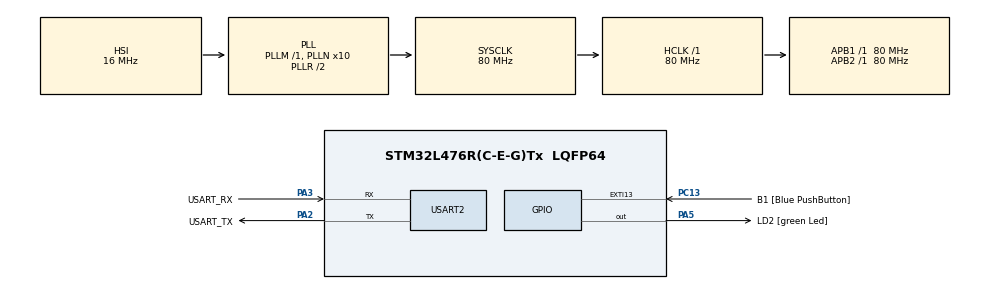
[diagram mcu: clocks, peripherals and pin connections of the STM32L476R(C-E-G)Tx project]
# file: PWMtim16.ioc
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Mcu.Family=STM32L4
Mcu.Name=STM32L476R(C-E-G)Tx
Mcu.Package=LQFP64
NVIC.PriorityGroup=NVIC_PRIORITYGROUP_4
PA13\ (JTMS-SWDIO).GPIO_Label=TMS
PA13\ (JTMS-SWDIO).Mode=Serial_Wire
PA13\ (JTMS-SWDIO).Signal=SYS_JTMS-SWDIO
PA14\ (JTCK-SWCLK).GPIO_Label=TCK
PA14\ (JTCK-SWCLK).Mode=Serial_Wire
PA14\ (JTCK-SWCLK).Signal=SYS_JTCK-SWCLK
PA2.GPIO_Label=USART_TX
PA2.GPIO_Mode=GPIO_MODE_AF_PP
PA2.GPIO_PuPd=GPIO_NOPULL
PA2.GPIO_Speed=GPIO_SPEED_FREQ_VERY_HIGH
PA2.Mode=Asynchronous
PA2.Signal=USART2_TX
PA3.GPIO_Label=USART_RX
PA3.GPIO_Mode=GPIO_MODE_AF_PP
PA3.GPIO_PuPd=GPIO_NOPULL
PA3.GPIO_Speed=GPIO_SPEED_FREQ_VERY_HIGH
PA3.Mode=Asynchronous
PA3.Signal=USART2_RX
PA5.GPIO_Label=LD2 [green Led]
PA5.GPIO_ModeDefaultOutputPP=GPIO_MODE_OUTPUT_PP
PA5.GPIO_PuPd=GPIO_NOPULL
PA5.GPIO_Speed=GPIO_SPEED_FREQ_LOW
PA5.Signal=GPIO_Output
PB3\ (JTDO-TRACESWO).GPIO_Label=SWO
PB3\ (JTDO-TRACESWO).Signal=SYS_JTDO-SWO
PC13.GPIO_Label=B1 [Blue PushButton]
PC13.GPIO_ModeDefaultEXTI=GPIO_MODE_IT_FALLING
PC13.GPIO_PuPd=GPIO_NOPULL
PC13.Signal=GPXTI13
PC14-OSC32_IN\ (PC14).Mode=LSE-External-Oscillator
PC14-OSC32_IN\ (PC14).Signal=RCC_OSC32_IN
PC15-OSC32_OUT\ (PC15).Mode=LSE-External-Oscillator
PC15-OSC32_OUT\ (PC15).Signal=RCC_OSC32_OUT
PH0-OSC_IN\ (PH0).Signal=RCC_OSC_IN
PH1-OSC_OUT\ (PH1).Signal=RCC_OSC_OUT
ProjectManager.HeapSize=0x200
ProjectManager.StackSize=0x400
ProjectManager.TargetToolchain=STM32CubeIDE
RCC.ADCFreq_Value=64000000
RCC.AHBFreq_Value=80000000
RCC.APB1Freq_Value=80000000
RCC.APB1TimFreq_Value=80000000
RCC.APB2Freq_Value=80000000
RCC.APB2TimFreq_Value=80000000
RCC.CortexFreq_Value=80000000
RCC.HCLKFreq_Value=80000000
RCC.HSE_VALUE=8000000
RCC.HSI_VALUE=16000000
RCC.MSI_VALUE=4000000
RCC.PLLN=10
RCC.PLLSourceVirtual=RCC_PLLSOURCE_HSI
RCC.PREFETCH_ENABLE=1
RCC.SYSCLKFreq_VALUE=80000000
RCC.SYSCLKSource=RCC_SYSCLKSOURCE_PLLCLK
RCC.USBFreq_Value=64000000
RCC.VCOOutputFreq_Value=160000000
TIM16.Prescaler=80 - 1
USART2.VirtualMode-Asynchronous=VM_ASYNC
VP_TIM16_VS_ClockSourceINT.Mode=Enable_Timer
board=NUCLEO-L476RG

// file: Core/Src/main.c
/* USER CODE BEGIN Header */
/**
  ******************************************************************************
  * @file           : main.c
  * @brief          : Main program body
  ******************************************************************************
  * @attention
  *
  * <h2><center>&copy; Copyright (c) 2020 STMicroelectronics.
  * All rights reserved.</center></h2>
  *
  * This software component is licensed by ST under BSD 3-Clause license,
  * the "License"; You may not use this file except in compliance with the
  * License. You may obtain a copy of the License at:
  *                        opensource.org/licenses/BSD-3-Clause
  *
  ******************************************************************************
  */
/* USER CODE END Header */
#include "main.h"

/* USER CODE BEGIN Includes */
#include <stdio.h>

/* USER CODE END Includes */

TIM_HandleTypeDef htim16;

UART_HandleTypeDef huart2;

void SystemClock_Config(void);
static void MX_GPIO_Init(void);
static void MX_USART2_UART_Init(void);
static void MX_TIM16_Init(void);

int main(void)
{
  /* USER CODE BEGIN 1 */
	char uart_buf[50];
	int uart_buf_len;
	uint16_t timer_val;

  /* USER CODE END 1 */

  /* MCU Configuration--------------------------------------------------------*/

  /* Reset of all peripherals, Initializes the Flash interface and the Systick. */
  HAL_Init();

  /* Configure the system clock */
  SystemClock_Config();

  /* Initialize all configured peripherals */
  MX_GPIO_Init();
  MX_USART2_UART_Init();
  MX_TIM16_Init();
  /* USER CODE BEGIN 2 */
  // Say something

  uart_buf_len = sprintf(uart_buf, "Timer Test\r\n");
  HAL_UART_Transmit(&huart2,(uint8_t*)uart_buf, uart_buf_len, 100);

  // Start the timer
  HAL_TIM_Base_Start(&htim16);

  /* USER CODE END 2 */

  /* Infinite loop */
  /* USER CODE BEGIN WHILE */
  while (1)
  {
	  // Get the current time (microseconds)
	  timer_val = __HAL_TIM_GET_COUNTER(&htim16);

	  // Wait for 50 ms
	  HAL_GPIO_WritePin(GPIOA, GPIO_PIN_5, GPIO_PIN_SET);
	  HAL_Delay(50);
	  HAL_GPIO_WritePin(GPIOA, GPIO_PIN_5, GPIO_PIN_RESET);

	  // Get time elapsed
	  timer_val  = __HAL_TIM_GET_COUNTER(&htim16) - timer_val;

	  // Show time elapsed
	  uart_buf_len = sprintf(uart_buf, "%u us\r\n", timer_val);
	  HAL_UART_Transmit(&huart2, (uint8_t*)uart_buf, uart_buf_len, 100);

	  // Wait again so we do not flood the Serial terminal
	  HAL_Delay(1000);
    /* USER CODE END WHILE */

  }
}

void SystemClock_Config(void)
{
  RCC_OscInitTypeDef RCC_OscInitStruct = {0};
  RCC_ClkInitTypeDef RCC_ClkInitStruct = {0};
  RCC_PeriphCLKInitTypeDef PeriphClkInit = {0};

  /** Initializes the RCC Oscillators according to the specified parameters
  * in the RCC_OscInitTypeDef structure.
  */
  RCC_OscInitStruct.OscillatorType = RCC_OSCILLATORTYPE_HSI;
  RCC_OscInitStruct.HSIState = RCC_HSI_ON;
  RCC_OscInitStruct.HSICalibrationValue = RCC_HSICALIBRATION_DEFAULT;
  RCC_OscInitStruct.PLL.PLLState = RCC_PLL_ON;
  RCC_OscInitStruct.PLL.PLLSource = RCC_PLLSOURCE_HSI;
  RCC_OscInitStruct.PLL.PLLM = 1;
  RCC_OscInitStruct.PLL.PLLN = 10;
  RCC_OscInitStruct.PLL.PLLP = RCC_PLLP_DIV7;
  RCC_OscInitStruct.PLL.PLLQ = RCC_PLLQ_DIV2;
  RCC_OscInitStruct.PLL.PLLR = RCC_PLLR_DIV2;
  if (HAL_RCC_OscConfig(&RCC_OscInitStruct) != HAL_OK)
  {
    Error_Handler();
  }
  /** Initializes the CPU, AHB and APB buses clocks
  */
  RCC_ClkInitStruct.ClockType = RCC_CLOCKTYPE_HCLK|RCC_CLOCKTYPE_SYSCLK
                              |RCC_CLOCKTYPE_PCLK1|RCC_CLOCKTYPE_PCLK2;
  RCC_ClkInitStruct.SYSCLKSource = RCC_SYSCLKSOURCE_PLLCLK;
  RCC_ClkInitStruct.AHBCLKDivider = RCC_SYSCLK_DIV1;
  RCC_ClkInitStruct.APB1CLKDivider = RCC_HCLK_DIV1;
  RCC_ClkInitStruct.APB2CLKDivider = RCC_HCLK_DIV1;

  if (HAL_RCC_ClockConfig(&RCC_ClkInitStruct, FLASH_LATENCY_4) != HAL_OK)
  {
    Error_Handler();
  }
  PeriphClkInit.PeriphClockSelection = RCC_PERIPHCLK_USART2;
  PeriphClkInit.Usart2ClockSelection = RCC_USART2CLKSOURCE_PCLK1;
  if (HAL_RCCEx_PeriphCLKConfig(&PeriphClkInit) != HAL_OK)
  {
    Error_Handler();
  }
  /** Configure the main internal regulator output voltage
  */
  if (HAL_PWREx_ControlVoltageScaling(PWR_REGULATOR_VOLTAGE_SCALE1) != HAL_OK)
  {
    Error_Handler();
  }
}

static void MX_TIM16_Init(void)
{

  htim16.Instance = TIM16;
  htim16.Init.Prescaler = 80 - 1;
  htim16.Init.CounterMode = TIM_COUNTERMODE_UP;
  htim16.Init.Period = 65535;
  htim16.Init.ClockDivision = TIM_CLOCKDIVISION_DIV1;
  htim16.Init.RepetitionCounter = 0;
  htim16.Init.AutoReloadPreload = TIM_AUTORELOAD_PRELOAD_DISABLE;
  if (HAL_TIM_Base_Init(&htim16) != HAL_OK)
  {
    Error_Handler();
  }

}

static void MX_USART2_UART_Init(void)
{

  huart2.Instance = USART2;
  huart2.Init.BaudRate = 115200;
  huart2.Init.WordLength = UART_WORDLENGTH_8B;
  huart2.Init.StopBits = UART_STOPBITS_1;
  huart2.Init.Parity = UART_PARITY_NONE;
  huart2.Init.Mode = UART_MODE_TX_RX;
  huart2.Init.HwFlowCtl = UART_HWCONTROL_NONE;
  huart2.Init.OverSampling = UART_OVERSAMPLING_16;
  huart2.Init.OneBitSampling = UART_ONE_BIT_SAMPLE_DISABLE;
  huart2.AdvancedInit.AdvFeatureInit = UART_ADVFEATURE_NO_INIT;
  if (HAL_UART_Init(&huart2) != HAL_OK)
  {
    Error_Handler();
  }

}

static void MX_GPIO_Init(void)
{
  GPIO_InitTypeDef GPIO_InitStruct = {0};

  /* GPIO Ports Clock Enable */
  __HAL_RCC_GPIOC_CLK_ENABLE();
  __HAL_RCC_GPIOH_CLK_ENABLE();
  __HAL_RCC_GPIOA_CLK_ENABLE();
  __HAL_RCC_GPIOB_CLK_ENABLE();

  /*Configure GPIO pin Output Level */
  HAL_GPIO_WritePin(LD2_GPIO_Port, LD2_Pin, GPIO_PIN_RESET);

  /*Configure GPIO pin : B1_Pin */
  GPIO_InitStruct.Pin = B1_Pin;
  GPIO_InitStruct.Mode = GPIO_MODE_IT_FALLING;
  GPIO_InitStruct.Pull = GPIO_NOPULL;
  HAL_GPIO_Init(B1_GPIO_Port, &GPIO_InitStruct);

  /*Configure GPIO pin : LD2_Pin */
  GPIO_InitStruct.Pin = LD2_Pin;
  GPIO_InitStruct.Mode = GPIO_MODE_OUTPUT_PP;
  GPIO_InitStruct.Pull = GPIO_NOPULL;
  GPIO_InitStruct.Speed = GPIO_SPEED_FREQ_LOW;
  HAL_GPIO_Init(LD2_GPIO_Port, &GPIO_InitStruct);

}

void Error_Handler(void)
{
}

/************************ (C) COPYRIGHT STMicroelectronics *****END OF FILE****/
